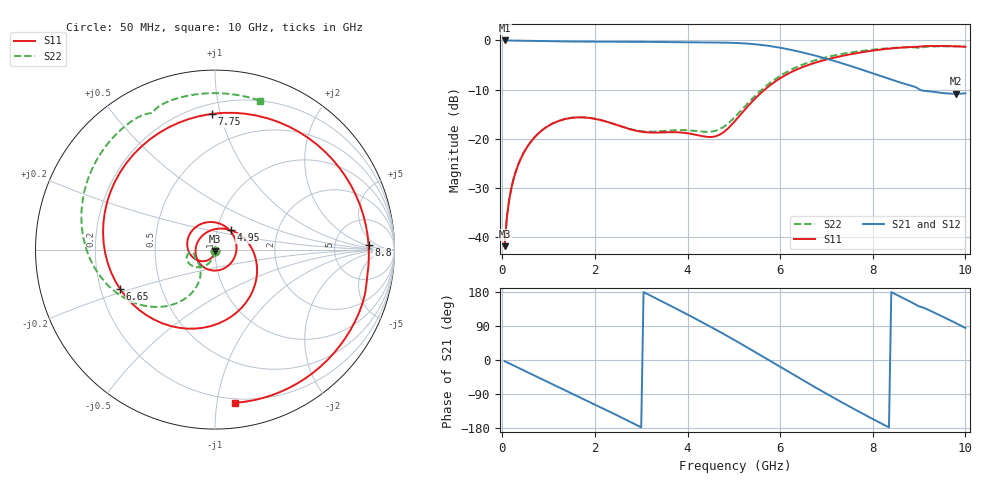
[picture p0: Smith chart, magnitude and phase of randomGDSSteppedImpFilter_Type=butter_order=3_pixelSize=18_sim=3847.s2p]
! freq	dB(S11)	phase(S11)	dB(S12)	phase(S12)
!  dB(S21)	phase(S21)	dB(S22)	phase(S22)
!S-par simulation data
#  GHz  S  DB  R 50
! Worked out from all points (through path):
!   200 points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, 50 MHz to 10 GHz, reference 50 ohm
!   highest |S21| = -0.01 dB at 50 MHz (marker M1); lowest = -10.8 dB at 9.8 GHz (marker M2)
!   group delay of S21, straight-line fit = 181 ps
!   lowest |S11| = -41.8 dB at 50 MHz (marker M3), VSWR 1.02, Z = 50 - j0.816 ohm
!   |S11| at or under -10 dB: start of sweep to 5.665 GHz
!   |S22| runs from -41.7 to -1.2 dB; largest |S21 - S12| = 0
!   S11 on the Smith chart (normalised r, x): 50 MHz: 1.00, -0.02; 4.95 GHz: 1.16, +0.26; 6.65 GHz: 0.28, -0.19; 7.75 GHz: 0.27, +0.94; 8.8 GHz: 12, +2; 10 GHz: 0.17, -1.12
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0.05  -41.76 -91.3  -0.01 -3.0  -0.01 -3.0  -41.74 -89.8
0.2  -29.81 -104.4  -0.03 -11.9  -0.03 -11.9  -29.77 -98.5
0.5  -22.19 -127.4  -0.07 -29.7  -0.07 -29.7  -22.15 -112.5
1.15  -16.61 -177.0  -0.18 -67.8  -0.18 -67.8  -16.57 -139.9
1.75  -15.63 133.6  -0.25 -102.8  -0.25 -102.8  -15.61 -160.5
2.65  -17.72 39.4  -0.27 -156.4  -0.27 -156.4  -17.69 -172.4
3.4  -18.69 -62.4  -0.32 157.6  -0.32 157.6  -18.45 -161.0
4.25  -19.30 179.9  -0.39 103.9  -0.39 103.9  -18.46 -150.5
4.95  -17.14 51.3  -0.48 57.0  -0.48 57.0  -16.22 -121.3
5.05  -16.09 34.4  -0.52 50.1  -0.52 50.1  -15.28 -118.6
5.45  -11.89 -23.0  -0.77 21.6  -0.77 21.6  -11.34 -118.1
5.8  -8.98 -65.1  -1.17 -3.7  -1.17 -3.7  -8.49 -126.5
6.25  -6.38 -114.8  -1.95 -36.2  -1.95 -36.2  -5.89 -142.3
6.65  -4.85 -157.2  -2.83 -64.6  -2.83 -64.6  -4.35 -157.6
6.7  -4.69 -162.5  -2.95 -68.1  -2.95 -68.1  -4.20 -159.5
7.2  -3.43 145.9  -4.26 -102.7  -4.26 -102.7  -2.99 -178.4
7.75  -2.43 91.4  -5.89 -139.5  -5.89 -139.5  -2.14 161.3
8.35  -1.67 37.5  -7.81 -177.8  -7.81 -177.8  -1.58 139.1
8.8  -1.35 1.6  -9.12 154.5  -9.12 154.5  -1.38 121.9
9.25  -1.13 -30.9  -10.37 129.6  -10.37 129.6  -1.24 105.7
9.8  -1.20 -68.7  -10.82 97.0  -10.82 97.0  -1.20 82.4
10  -1.30 -82.6  -10.74 84.6  -10.74 84.6  -1.24 73.2
